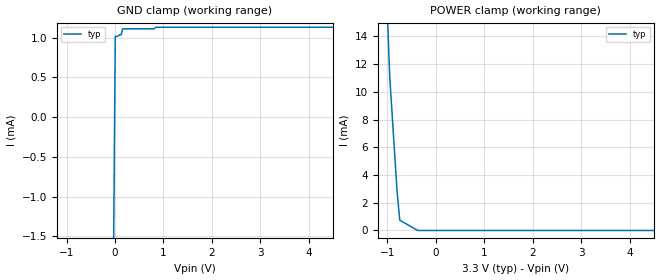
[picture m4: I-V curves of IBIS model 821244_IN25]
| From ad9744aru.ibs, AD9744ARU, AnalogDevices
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| COPYRIGHT(C) MENTOR GRAPHICS CORPORATION 2002 ALL
| RIGHTS RESERVED. THIS WORK CONTAINS PROPRIETARY
| INFORMATION WHICH IS THE PROPERTY OF MENTOR GRAPHICS
| CORPORATION OR ITS LICENSORS. USE OF THESE MATERIALS
| IS SUBJECT TO THE TERMS BELOW.
| USE: MENTOR GRAPHICS HAS LICENSED IBIS MODELS TO
| SPECIFIC INTEGRATED CIRCUIT SUPPLIERS ("IC VENDORS")
| FOR USE AND DISTRIBUTION AS FOLLOWS: EACH IC VENDOR
| MAY USE IBIS MODELS, AND DISTRIBUTE THEM TO IC VENDOR'S
| CUSTOMERS TO USE, SOLELY FOR DEVELOPING PRINTED
| CIRCUIT BOARD DESIGNS. NO OTHER USE OR DISTRIBUTION
| OF THESE MATERIALS IS PERMITTED.
| Model Application Version 1.89 2/18/99.
[Model] 821244_IN25
Model_type Input
Vinl = 900.0mV
Vinh = 2.100V
C_comp 5.000pF NA NA
| variable typ   min   max
[Voltage Range] 3.300V NA NA
[GND Clamp Reference] 0.000V NA NA
[POWER Clamp Reference] 3.300V NA NA
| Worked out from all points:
|   POWER clamp passes 1 mA (typ) near -0.75 V on its own axis
[GND Clamp]
-3.3V     -251.9mA   NA         NA
5.297mV   1.014mA    NA         NA
50.81mV   1.014mA    NA         NA
96.33mV   1.034mA    NA         NA
126.8mV   1.034mA    NA         NA
157.3mV   1.109mA    NA         NA
805.9mV   1.109mA    NA         NA
846.5mV   1.129mA    NA         NA
6.6V      1.129mA    NA         NA
[POWER Clamp]
-3.3V     296.2mA    NA         NA
-1.104V   25.21mA    NA         NA
-951.9mV  11.09mA    NA         NA
-799.9mV  2.779mA    NA         NA
-743.9mV  740.2uA    NA         NA
-372mV    0A         NA         NA
6.6V      0A         NA         NA
